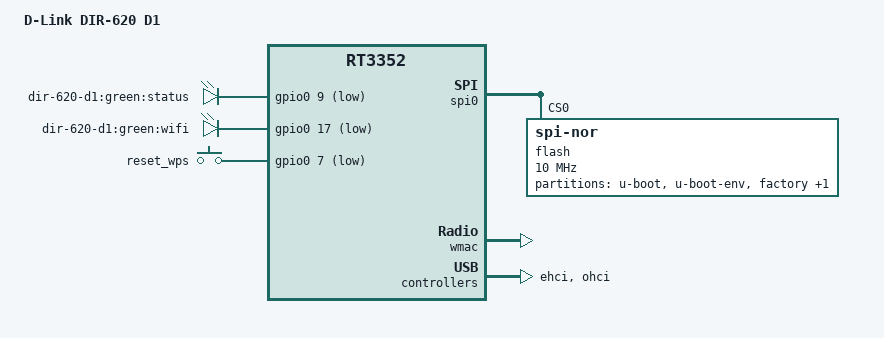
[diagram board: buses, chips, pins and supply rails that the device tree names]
/dts-v1/;

#include "rt3352.dtsi"

#include <dt-bindings/gpio/gpio.h>
#include <dt-bindings/input/input.h>

/ {
	compatible = "dlink,dir-620-d1", "ralink,rt3352-soc";
	model = "D-Link DIR-620 D1";

	aliases {
		led-boot = &led_status;
		led-failsafe = &led_status;
		led-running = &led_status;
		led-upgrade = &led_status;
	};

	leds {
		compatible = "gpio-leds";

		led_status: status {
			label = "dir-620-d1:green:status";
			gpios = <&gpio0 9 GPIO_ACTIVE_LOW>;
		};

		wifi {
			label = "dir-620-d1:green:wifi";
			gpios = <&gpio0 17 GPIO_ACTIVE_LOW>;
		};
	};

	keys {
		compatible = "gpio-keys-polled";
		poll-interval = <20>;

		reset_wps {
			label = "reset_wps";
			gpios = <&gpio0 7 GPIO_ACTIVE_LOW>;
			linux,code = <KEY_RESTART>;
		};
	};
};

&spi0 {
	status = "okay";

	flash@0 {
		compatible = "jedec,spi-nor";
		reg = <0>;
		spi-max-frequency = <10000000>;

		partitions {
			compatible = "fixed-partitions";
			#address-cells = <1>;
			#size-cells = <1>;

			partition@0 {
				label = "u-boot";
				reg = <0x0 0x30000>;
				read-only;
			};

			partition@30000 {
				label = "u-boot-env";
				reg = <0x30000 0x10000>;
				read-only;
			};

			factory: partition@40000 {
				label = "factory";
				reg = <0x40000 0x10000>;
				read-only;
			};

			partition@50000 {
				compatible = "denx,uimage";
				label = "firmware";
				reg = <0x50000 0x7b0000>;
			};
		};
	};
};

&state_default {
	gpio {
		groups = "i2c", "jtag", "uartf";
		function = "gpio";
	};
};

&ethernet {
	mtd-mac-address = <&factory 0x4>;
	pinctrl-names = "default";
	pinctrl-0 = <&rgmii_pins &mdio_pins>;
};

&esw {
	mediatek,portmap = <0x2f>;
};

&wmac {
	ralink,mtd-eeprom = <&factory 0x0>;
};

&ehci {
	status = "okay";
};

&ohci {
	status = "okay";
};
